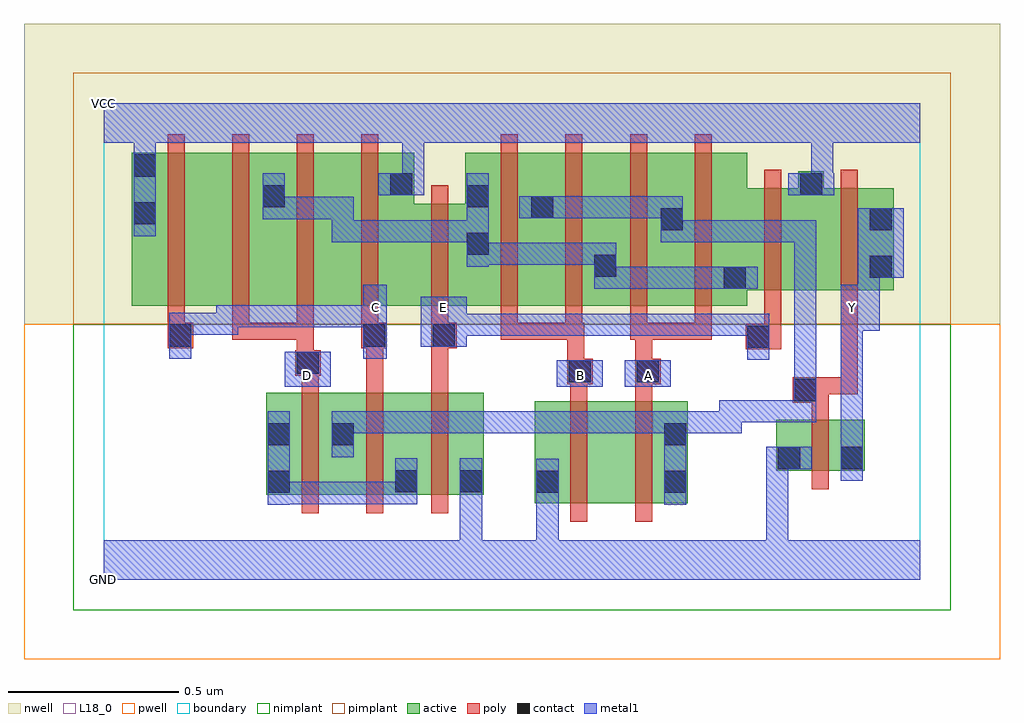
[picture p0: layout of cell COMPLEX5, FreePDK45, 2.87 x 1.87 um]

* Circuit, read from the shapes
.subckt COMPLEX5 A B C D E GND VCC Y
M1 n1 D n2 VSUBS nfet w=0.3u l=0.05u
M2 n2 C n1 VSUBS nfet w=0.3u l=0.05u
M3 GND E n2 VSUBS nfet w=0.3u l=0.05u
M4 n3 B GND VSUBS nfet w=0.3u l=0.05u
M5 n1 A n3 VSUBS nfet w=0.3u l=0.05u
M6 Y n1 GND VSUBS nfet w=0.15u l=0.05u
M7 n4 C VCC n5 pfet w=0.45u l=0.05u
M8 n6 D n4 n5 pfet w=0.45u l=0.05u
M9 n7 D n6 n5 pfet w=0.45u l=0.05u
M10 VCC C n7 n5 pfet w=0.45u l=0.05u
M11 n6 E VCC n5 pfet w=0.3u l=0.05u m=2
M12 n1 B n6 n5 pfet w=0.45u l=0.05u m=2
M13 n1 A n6 n5 pfet w=0.45u l=0.05u m=2
M14 Y n1 VCC n5 pfet w=0.3u l=0.05u
.ends

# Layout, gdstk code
import gdstk
lib = gdstk.Library(unit=1e-6, precision=1e-09)
def R(c, l, rs):  # rectangles x0, y0, x1, y1
    for r in rs: c.add(gdstk.rectangle(r[:2], r[2:], *l))
def A(c, l, x, y, w, h, nx, ny, dx, dy):  # array of equal rectangles
    R(c, l, [(x+i*dx, y+j*dy, x+i*dx+w, y+j*dy+h) for i in range(nx) for j in range(ny)])
active = (1, 0)
pwell = (2, 0)
nwell = (3, 0)
nimplant = (4, 0)
pimplant = (5, 0)
poly = (9, 0)
contact = (10, 0)
metal1 = (11, 0)
L18_0 = (18, 0)
boundary = (235, 0)

complex5 = lib.new_cell('COMPLEX5')
R(complex5, active, [(1.267,0.225,1.492,0.525), (1.492,0.225,1.717,0.525), (1.642,0.225,1.717,0.525), (0.477,0.25,0.552,0.55), (0.477,0.25,0.74,0.55), (0.665,0.25,0.927,0.55), (0.852,0.25,1.117,0.55), (1.267,0.25,1.342,0.392), (0.852,0.252,0.927,0.392), (1.042,0.252,1.117,0.392), (1.977,0.32,2.052,0.47), (1.977,0.32,2.237,0.47), (2.162,0.32,2.237,0.47), (0.665,0.33,0.74,0.465), (0.082,0.805,0.307,1.255), (0.082,0.805,0.157,1.255), (0.307,0.805,0.537,1.255), (0.462,0.805,0.687,1.255), (0.687,0.805,0.912,1.255), (0.837,0.805,1.137,1.105), (1.062,0.805,1.327,1.255), (1.062,0.805,1.137,1.2), (1.252,0.805,1.512,1.255), (1.437,0.805,1.707,1.255), (1.437,0.805,1.512,1.07), (1.632,0.805,1.892,1.255), (1.252,0.832,1.327,1.2), (1.632,0.832,1.707,1.2), (1.817,0.85,2.117,1.15), (1.817,0.85,1.892,1.07), (2.042,0.85,2.322,1.15), (2.247,0.85,2.322,1.15), (0.462,0.857,0.537,1.2), (0.837,1.007,0.912,1.255), (2.042,1.007,2.117,1.2)])
R(complex5, pwell, [(-0.235,-0.235,2.635,0.75)])
R(complex5, nwell, [(-0.235,0.75,2.635,1.635)])
R(complex5, nimplant, [(-0.09,-0.09,2.49,0.75)])
R(complex5, pimplant, [(-0.09,0.75,2.49,1.49)])
A(complex5, poly, 0.582, 0.195, 0.05, 0.41, 3, 1, 0.19, 0)
A(complex5, poly, 0.187, 0.705, 0.05, 0.095, 4, 1, 0.19, 0)
A(complex5, poly, 1.167, 0.705, 0.05, 0.095, 4, 1, 0.19, 0)
A(complex5, poly, 0.187, 0.75, 0.05, 0.56, 4, 1, 0.19, 0)
A(complex5, poly, 1.167, 0.75, 0.05, 0.56, 4, 1, 0.19, 0)
R(complex5, poly, [(1.372,0.17,1.422,0.58), (1.562,0.17,1.612,0.58), (2.082,0.265,2.132,0.525), (2.082,0.475,2.132,0.57), (2.025,0.52,2.132,0.595), (1.372,0.53,1.422,0.625), (1.562,0.53,1.612,0.625), (2.082,0.545,2.132,0.595), (2.082,0.545,2.217,0.595), (2.167,0.545,2.217,0.845), (0.582,0.555,0.632,0.65), (0.772,0.555,0.822,0.73), (0.962,0.555,1.012,0.73), (1.362,0.575,1.437,0.65), (1.562,0.575,1.637,0.65), (0.562,0.6,0.637,0.675), (1.362,0.6,1.412,0.755), (1.562,0.6,1.612,0.755), (0.567,0.625,0.617,0.755), (1.887,0.677,1.992,0.752), (0.187,0.68,0.262,0.755), (0.757,0.68,0.832,0.755), (0.772,0.68,0.822,0.73), (0.772,0.68,0.822,0.73), (0.962,0.68,1.012,0.73), (0.962,0.68,1.012,0.73), (0.962,0.68,1.037,0.755), (1.942,0.702,1.992,0.845), (0.377,0.705,0.427,0.755), (0.377,0.705,0.617,0.755), (0.567,0.705,0.617,0.755), (0.567,0.705,0.617,0.755), (0.567,0.705,0.617,0.755), (0.962,0.705,1.012,0.8), (1.167,0.705,1.217,0.755), (1.167,0.705,1.217,0.755), (1.167,0.705,1.217,0.755), (1.167,0.705,1.407,0.755), (1.357,0.705,1.412,0.755), (1.547,0.705,1.612,0.755), (1.562,0.705,1.787,0.755), (1.737,0.705,1.787,0.755), (1.737,0.705,1.787,0.755), (1.737,0.705,1.787,0.755), (0.962,0.75,1.012,1.16), (1.942,0.795,1.992,1.205), (2.167,0.795,2.217,1.205)])
R(complex5, contact, [(0.482,0.255,0.547,0.32), (1.272,0.255,1.337,0.32), (1.647,0.255,1.712,0.32), (0.857,0.257,0.922,0.322), (1.047,0.257,1.112,0.322), (1.982,0.325,2.047,0.39), (2.167,0.325,2.232,0.39), (0.482,0.395,0.547,0.46), (0.67,0.395,0.735,0.46), (1.647,0.395,1.712,0.46), (2.03,0.525,2.095,0.59), (1.367,0.58,1.432,0.645), (1.567,0.58,1.632,0.645), (0.567,0.605,0.632,0.67), (1.892,0.682,1.957,0.747), (0.192,0.685,0.257,0.75), (0.762,0.685,0.827,0.75), (0.967,0.685,1.032,0.75), (1.822,0.855,1.887,0.92), (2.252,0.887,2.317,0.952), (1.442,0.89,1.507,0.955), (1.067,0.955,1.132,1.02), (1.637,1.027,1.702,1.092), (2.252,1.027,2.317,1.092), (0.087,1.045,0.152,1.11), (1.257,1.062,1.322,1.127), (0.467,1.095,0.532,1.16), (1.067,1.095,1.132,1.16), (0.842,1.13,0.907,1.195), (2.047,1.13,2.112,1.195), (0.087,1.185,0.152,1.25)])
R(complex5, metal1, [(0,0,2.4,0.115), (1.047,0.05,1.112,0.115), (1.047,0.05,1.112,0.115), (1.047,0.05,1.112,0.287), (1.272,0.05,1.337,0.115), (1.272,0.05,1.337,0.115), (1.272,0.05,1.337,0.285), (1.947,0.05,2.012,0.115), (1.947,0.05,2.012,0.115), (1.947,0.05,2.012,0.115), (1.947,0.05,2.012,0.115), (1.947,0.05,2.012,0.39), (0.482,0.22,0.547,0.495), (1.272,0.22,1.337,0.355), (1.647,0.22,1.712,0.495), (0.482,0.222,0.547,0.287), (0.482,0.222,0.547,0.287), (0.482,0.222,0.735,0.287), (0.67,0.222,0.735,0.287), (0.67,0.222,0.735,0.287), (0.67,0.222,0.735,0.287), (0.67,0.222,0.922,0.287), (0.857,0.222,0.922,0.357), (1.047,0.222,1.112,0.357), (2.167,0.29,2.232,0.425), (1.947,0.325,2.082,0.39), (0.67,0.36,0.735,0.495), (2.167,0.36,2.232,0.797), (0.67,0.43,0.767,0.495), (0.702,0.43,0.767,0.495), (0.702,0.43,0.93,0.495), (0.865,0.43,0.93,0.495), (0.865,0.43,0.93,0.495), (0.865,0.43,0.93,0.495), (0.865,0.43,1.067,0.495), (1.002,0.43,1.067,0.495), (1.002,0.43,1.22,0.495), (1.155,0.43,1.22,0.495), (1.155,0.43,1.357,0.495), (1.292,0.43,1.357,0.495), (1.292,0.43,1.357,0.495), (1.292,0.43,1.357,0.495), (1.292,0.43,1.565,0.495), (1.5,0.43,1.565,0.495), (1.5,0.43,1.565,0.495), (1.5,0.43,1.565,0.495), (1.5,0.43,1.712,0.495), (1.647,0.43,1.82,0.495), (1.755,0.43,1.82,0.495), (1.755,0.43,1.875,0.495), (1.81,0.43,1.875,0.527), (1.81,0.462,1.957,0.527), (1.892,0.462,1.957,0.527), (1.892,0.462,2.095,0.527), (2.03,0.462,2.095,0.527), (2.03,0.462,2.095,0.625), (2.03,0.49,2.095,0.625), (2.03,0.56,2.095,0.625), (2.03,0.56,2.095,0.625), (2.03,0.56,2.095,0.625), (2.03,0.56,2.095,0.625), (2.03,0.56,2.095,1.057), (0.532,0.567,0.667,0.67), (1.332,0.567,1.467,0.645), (1.532,0.567,1.667,0.645), (1.892,0.647,1.957,0.782), (0.192,0.65,0.257,0.785), (0.762,0.65,0.832,0.867), (0.932,0.685,1.067,0.832), (1.002,0.717,1.067,0.782), (1.002,0.717,1.067,0.782), (1.002,0.717,1.205,0.782), (1.14,0.717,1.205,0.782), (1.14,0.717,1.357,0.782), (1.292,0.717,1.357,0.782), (1.292,0.717,1.357,0.782), (1.292,0.717,1.357,0.782), (1.292,0.717,1.495,0.782), (1.43,0.717,1.495,0.782), (1.43,0.717,1.495,0.782), (1.43,0.717,1.495,0.782), (1.43,0.717,1.702,0.782), (1.637,0.717,1.702,0.782), (1.637,0.717,1.702,0.782), (1.637,0.717,1.702,0.782), (1.637,0.717,1.875,0.782), (1.81,0.717,1.875,0.782), (1.81,0.717,1.957,0.782), (0.192,0.72,0.257,0.785), (0.192,0.72,0.257,0.785), (0.192,0.72,0.395,0.785), (0.33,0.72,0.395,0.807), (2.167,0.732,2.282,0.867), (0.33,0.742,0.395,0.807), (0.33,0.742,0.395,0.807), (0.33,0.742,0.532,0.807), (0.467,0.742,0.532,0.807), (0.467,0.742,0.735,0.807), (0.67,0.742,0.735,0.807), (0.67,0.742,0.827,0.807), (2.217,0.802,2.282,0.952), (2.217,0.802,2.282,0.867), (2.217,0.802,2.282,0.867), (1.442,0.855,1.507,0.92), (1.442,0.855,1.507,0.92), (1.442,0.855,1.507,0.99), (1.442,0.855,1.702,0.92), (1.637,0.855,1.702,0.92), (1.637,0.855,1.702,0.92), (1.637,0.855,1.702,0.92), (1.637,0.855,1.852,0.92), (1.787,0.855,1.922,0.92), (2.217,0.887,2.352,1.092), (1.067,0.92,1.132,1.195), (1.067,0.925,1.205,0.99), (1.14,0.925,1.205,0.99), (1.14,0.925,1.357,0.99), (1.292,0.925,1.357,0.99), (1.292,0.925,1.357,0.99), (1.292,0.925,1.357,0.99), (1.292,0.925,1.507,0.99), (0.67,0.992,0.735,1.057), (0.67,0.992,0.735,1.057), (0.67,0.992,0.93,1.057), (0.67,0.992,0.735,1.125), (0.865,0.992,0.93,1.057), (0.865,0.992,0.93,1.057), (0.865,0.992,0.93,1.057), (0.865,0.992,1.132,1.057), (1.637,0.992,1.702,1.057), (1.637,0.992,1.702,1.057), (1.637,0.992,1.702,1.127), (1.637,0.992,1.875,1.057), (1.81,0.992,1.875,1.057), (1.81,0.992,1.957,1.057), (1.892,0.992,1.957,1.057), (1.892,0.992,2.095,1.057), (2.03,0.992,2.095,1.057), (2.03,0.992,2.095,1.057), (2.03,0.992,2.095,1.057), (0.087,1.01,0.152,1.285), (0.467,1.06,0.532,1.125), (0.467,1.06,0.532,1.125), (0.467,1.06,0.532,1.195), (0.467,1.06,0.735,1.125), (1.222,1.062,1.357,1.127), (1.292,1.062,1.357,1.127), (1.292,1.062,1.357,1.127), (1.292,1.062,1.565,1.127), (1.5,1.062,1.565,1.127), (1.5,1.062,1.565,1.127), (1.5,1.062,1.565,1.127), (1.5,1.062,1.702,1.127), (0.807,1.13,0.942,1.195), (0.877,1.13,0.942,1.35), (2.012,1.13,2.147,1.195), (2.08,1.13,2.145,1.195), (2.08,1.13,2.145,1.195), (2.08,1.13,2.145,1.35), (0.087,1.22,0.152,1.35), (0,1.285,2.4,1.4)])
R(complex5, L18_0, [(0,0,2.4,0.115), (1.047,0.05,1.112,0.115), (1.047,0.05,1.112,0.115), (1.047,0.05,1.112,0.287), (1.272,0.05,1.337,0.115), (1.272,0.05,1.337,0.115), (1.272,0.05,1.337,0.285), (1.947,0.05,2.012,0.115), (1.947,0.05,2.012,0.115), (1.947,0.05,2.012,0.115), (1.947,0.05,2.012,0.115), (1.947,0.05,2.012,0.39), (1.272,0.22,1.337,0.355), (1.047,0.222,1.112,0.357), (2.167,0.29,2.232,0.425), (1.947,0.325,2.082,0.39), (2.167,0.36,2.232,0.797), (0.532,0.567,0.667,0.67), (0.567,0.567,0.632,0.632), (1.332,0.567,1.467,0.645), (1.367,0.567,1.432,0.632), (1.532,0.567,1.667,0.645), (1.567,0.567,1.632,0.632), (1.892,0.647,1.957,0.782), (0.192,0.65,0.257,0.785), (0.762,0.65,0.832,0.867), (0.932,0.685,1.067,0.832), (1.002,0.717,1.067,0.782), (1.002,0.717,1.067,0.782), (1.002,0.717,1.205,0.782), (1.14,0.717,1.205,0.782), (1.14,0.717,1.357,0.782), (1.292,0.717,1.357,0.782), (1.292,0.717,1.357,0.782), (1.292,0.717,1.357,0.782), (1.292,0.717,1.495,0.782), (1.43,0.717,1.495,0.782), (1.43,0.717,1.495,0.782), (1.43,0.717,1.495,0.782), (1.43,0.717,1.702,0.782), (1.637,0.717,1.702,0.782), (1.637,0.717,1.702,0.782), (1.637,0.717,1.702,0.782), (1.637,0.717,1.875,0.782), (1.81,0.717,1.875,0.782), (1.81,0.717,1.957,0.782), (0.192,0.72,0.257,0.785), (0.192,0.72,0.257,0.785), (0.192,0.72,0.395,0.785), (0.33,0.72,0.395,0.807), (2.167,0.732,2.282,0.867), (0.33,0.742,0.395,0.807), (0.33,0.742,0.395,0.807), (0.33,0.742,0.532,0.807), (0.467,0.742,0.532,0.807), (0.467,0.742,0.735,0.807), (0.67,0.742,0.735,0.807), (0.67,0.742,0.827,0.807), (0.767,0.767,0.832,0.832), (0.967,0.767,1.032,0.832), (2.167,0.767,2.232,0.832), (2.217,0.802,2.282,0.867), (2.217,0.802,2.282,0.867), (2.217,0.802,2.282,0.952), (2.217,0.887,2.352,1.092), (0.087,1.01,0.152,1.285), (0.807,1.13,0.942,1.195), (0.877,1.13,0.942,1.35), (2.012,1.13,2.147,1.195), (2.08,1.13,2.145,1.195), (2.08,1.13,2.145,1.195), (2.08,1.13,2.145,1.35), (0.087,1.22,0.152,1.35), (0,1.285,2.4,1.4)])
R(complex5, boundary, [(0,0,2.4,1.4)])
complex5.add(gdstk.Label('A', (1.6,0.6), layer=11, texttype=0))
complex5.add(gdstk.Label('B', (1.4,0.6), layer=11, texttype=0))
complex5.add(gdstk.Label('C', (0.8,0.8), layer=11, texttype=0))
complex5.add(gdstk.Label('D', (0.6,0.6), layer=11, texttype=0))
complex5.add(gdstk.Label('E', (1,0.8), layer=11, texttype=0))
complex5.add(gdstk.Label('Y', (2.2,0.8), layer=11, texttype=0))
complex5.add(gdstk.Label('VCC', (0,1.4), layer=11, texttype=0))
complex5.add(gdstk.Label('GND', (0,0), layer=11, texttype=0))

lib.write_gds('COMPLEX5.gds')
